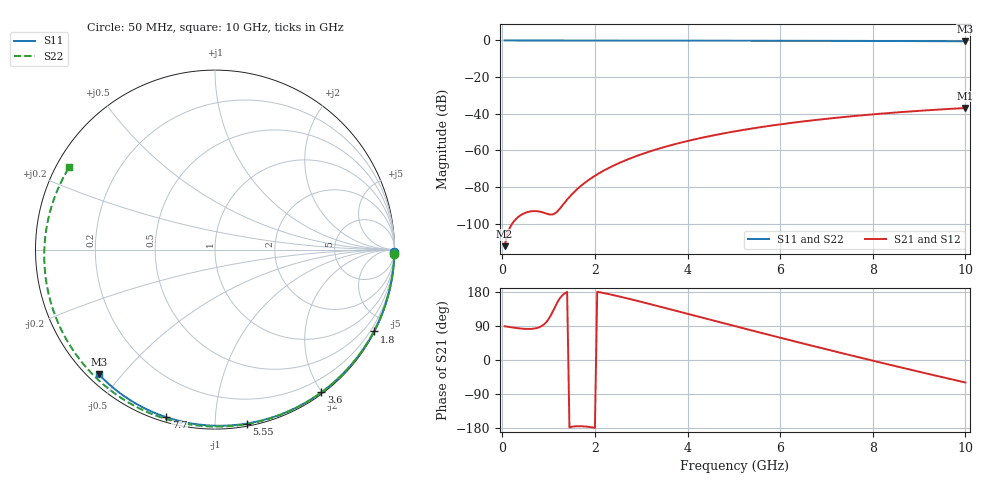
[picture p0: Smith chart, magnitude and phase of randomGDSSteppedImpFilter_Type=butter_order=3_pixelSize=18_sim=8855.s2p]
! freq	dB(S11)	phase(S11)	dB(S12)	phase(S12)
!  dB(S21)	phase(S21)	dB(S22)	phase(S22)
!S-par simulation data
#  GHz  S  DB  R 50
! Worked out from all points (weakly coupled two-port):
!   200 points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, 50 MHz to 10 GHz, reference 50 ohm
!   highest |S21| = -36.89 dB at 10 GHz (marker M1); lowest = -112.3 dB at 50 MHz (marker M2)
!   lowest |S11| = -0.4 dB at 10 GHz (marker M3), VSWR 38.68, Z = 1.54 - j21.8 ohm
!   |S11| at or under -10 dB: nowhere
!   |S22| runs from -0.6 to 0.0 dB; largest |S21 - S12| = 0
!   S11 on the Smith chart (normalised r, x): 50 MHz: open; 1.8 GHz: 0.04, -4.12; 3.6 GHz: 0.02, -1.99; 5.55 GHz: 0.02, -1.20; 7.7 GHz: 0.02, -0.75; 10 GHz: 0.03, -0.44
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0.05  -0.00 -0.8  -112.27 89.1  -112.27 89.1  -0.00 -1.3
0.4  -0.01 -6.1  -95.31 83.0  -95.31 83.0  -0.01 -9.9
0.8  -0.02 -12.2  -93.37 86.5  -93.37 86.5  -0.03 -19.8
1.2  -0.02 -18.3  -93.02 154.7  -93.02 154.7  -0.04 -29.5
1.65  -0.03 -25.0  -80.40 -174.6  -80.40 -174.6  -0.05 -40.3
1.75  -0.03 -26.5  -78.30 -175.1  -78.30 -175.1  -0.05 -42.7
1.8  -0.03 -27.3  -77.33 -175.6  -77.33 -175.6  -0.06 -43.9
2.1  -0.04 -31.7  -72.33 178.8  -72.33 178.8  -0.06 -50.9
2.5  -0.05 -37.6  -67.16 168.4  -67.16 168.4  -0.08 -60.0
2.9  -0.06 -43.3  -63.06 156.5  -63.06 156.5  -0.09 -69.0
3.4  -0.07 -50.5  -58.90 141.0  -58.90 141.0  -0.10 -79.9
3.6  -0.07 -53.3  -57.46 134.7  -57.46 134.7  -0.11 -84.1
4.3  -0.09 -63.0  -53.15 112.4  -53.15 112.4  -0.14 -98.7
5.05  -0.11 -73.0  -49.48 88.6  -49.48 88.6  -0.17 -113.6
5.55  -0.13 -79.6  -47.43 72.8  -47.43 72.8  -0.20 -123.3
6.15  -0.15 -87.2  -45.30 54.2  -45.30 54.2  -0.23 -134.7
6.7  -0.18 -94.1  -43.59 37.3  -43.59 37.3  -0.27 -145.1
7.2  -0.21 -100.2  -42.22 22.1  -42.22 22.1  -0.31 -154.4
7.7  -0.24 -106.2  -41.00 7.1  -41.00 7.1  -0.35 -163.8
8.35  -0.29 -113.9  -39.60 -12.1  -39.60 -12.1  -0.42 -176.2
9.2  -0.37 -123.7  -38.07 -36.7  -38.07 -36.7  -0.51 167.2
10  -0.45 -132.9  -36.89 -59.4  -36.89 -59.4  -0.60 150.6
